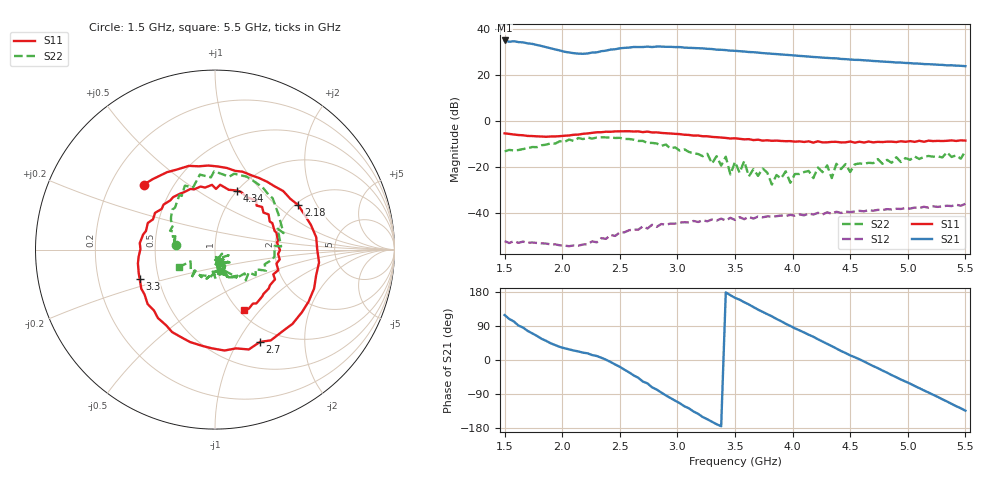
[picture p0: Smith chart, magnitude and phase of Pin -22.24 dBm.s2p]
! RsaToolbox (C) 2015 Rohde & Schwarz America
! Number of points: 101
! Number of ports: 2
! Balanced ports?: No
# Hz S RI R 50
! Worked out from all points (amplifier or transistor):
!   101 points, 1.5 GHz to 5.5 GHz, reference 50 ohm
!   highest |S21| = 35.0 dB at 1.5 GHz (marker M1)
!   |S21| within 3 dB of that: 2.596 GHz to 3.042 GHz (446.2 MHz wide, 15.8 % of centre)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
!   unconditionally stable (mu >= 1): start of sweep to end of sweep
!   at 2.14 GHz: K = 5.58, MAG = 31.3 dB, |S12| = -54.2 dB
!   at 3.5 GHz: K = 1.89, MAG = 31.3 dB, |S12| = -43.0 dB
!   at 5.5 GHz: K = 1.73, MAG = 25.0 dB, |S12| = -36.0 dB
!   S11 on the Smith chart (normalised r, x): 1.5 GHz: 0.34, +0.35; 2.18 GHz: 2.07, +1.42; 2.7 GHz: 0.81, -1.25; 3.3 GHz: 0.39, -0.16; 4.34 GHz: 1.00, +0.75; 5.5 GHz: 1.05, -0.83
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1.5e9  -0.3978 0.362  -26.98 49.28  0.00161 -0.00185  -0.216 0.028
1.66e9  -0.1458 0.4664  3.903 50.81  0.00069 -0.00228  -0.2346 0.0715
1.82e9  0.0659 0.4549  23.75 35.42  -0.00012 -0.00218  -0.2456 0.1649
1.98e9  0.2445 0.3993  28.04 19.27  -0.000568 -0.0019  -0.1988 0.3033
2.18e9  0.4636 0.2479  27.18 9.574  -0.000524 -0.002  -0.0228 0.4027
2.34e9  0.5694 0.00196  32.66 3.376  -0.00104 -0.00264  0.1763 0.4064
2.5e9  0.5212 -0.2904  36.03 -11.69  -0.00231 -0.00301  0.3211 0.2866
2.62e9  0.3806 -0.4518  30.74 -26.34  -0.00329 -0.0029  0.3818 0.0919
2.7e9  0.2506 -0.5144  22.1 -33.85  -0.00445 -0.00257  0.368 0.0173
2.86e9  -0.018 -0.5499  3.017 -41.22  -0.00567 -0.000962  0.2767 -0.0817
3.02e9  -0.2396 -0.4592  -16.34 -36.91  -0.00595 0.00164  0.1873 -0.1277
3.14e9  -0.3396 -0.34  -27.66 -26.79  -0.00601 0.003  0.1153 -0.1609
3.3e9  -0.4199 -0.1627  -35.02 -10.71  -0.00489 0.00534  0.0426 -0.1111
3.5e9  -0.419 0.0364  -32.16 9.237  -0.00201 0.00675  0.0194 -0.1277
3.7e9  -0.3342 0.2045  -20.85 22.37  0.00109 0.0083  0.0225 -0.0599
3.86e9  -0.2335 0.292  -8.977 26.93  0.00387 0.00758  0.017 -0.0646
4.18e9  0.00582 0.338  11.75 21.58  0.00823 0.00416  2.45e-05 -0.0572
4.34e9  0.1231 0.3291  18.53 13.8  0.0095 0.00153  0.0226 -0.0526
4.58e9  0.2624 0.2375  21.2 0.7303  0.0106 -0.00333  0.0574 -0.1044
4.86e9  0.3513 0.0497  14.63 -12.18  0.00715 -0.00953  -0.013 -0.1224
5.18e9  0.3344 -0.1658  1.246 -17.09  0.000459 -0.013  -0.0635 -0.1614
5.5e9  0.1615 -0.3383  -10.71 -11.2  -0.0091 -0.0129  -0.201 -0.0973
